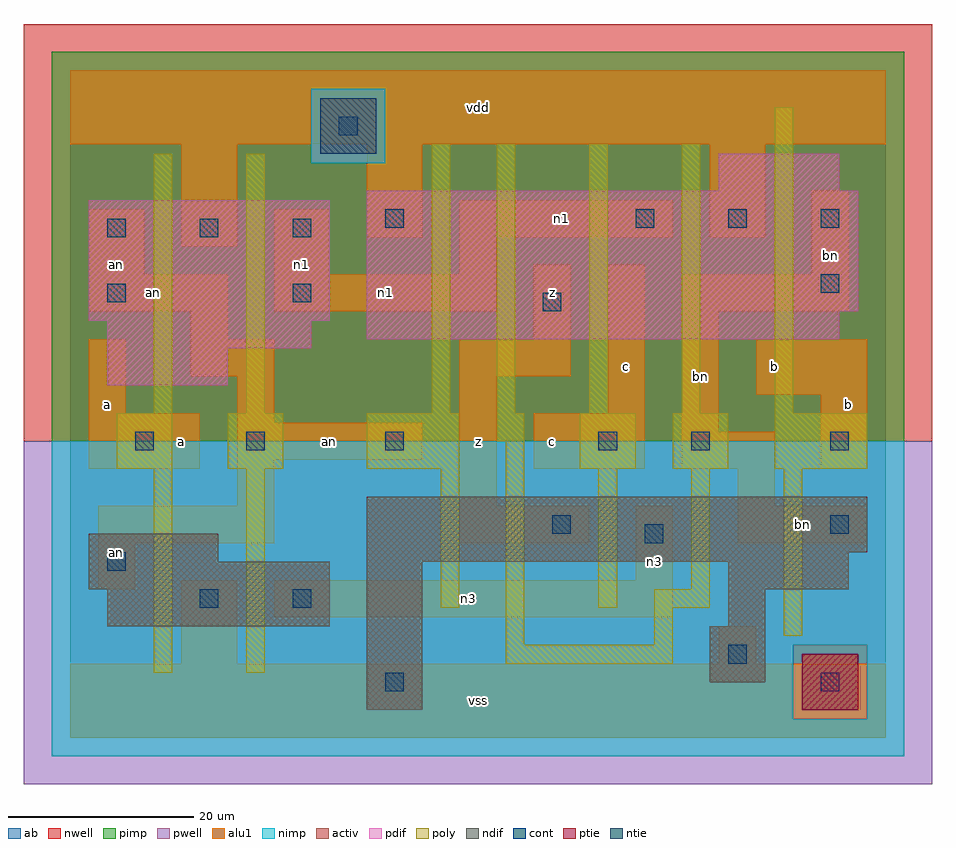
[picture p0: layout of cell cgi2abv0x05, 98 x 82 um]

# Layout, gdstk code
import gdstk
lib = gdstk.Library(unit=1e-6, precision=1e-09)
def R(c, l, rs):  # rectangles x0, y0, x1, y1
    for r in rs: c.add(gdstk.rectangle(r[:2], r[2:], *l))
def A(c, l, x, y, w, h, nx, ny, dx, dy):  # array of equal rectangles
    R(c, l, [(x+i*dx, y+j*dy, x+i*dx+w, y+j*dy+h) for i in range(nx) for j in range(ny)])
ndif = (3, 0)
pdif = (4, 0)
ntie = (5, 0)
ptie = (6, 0)
cont = (25, 0)
pwell = (41, 0)
nwell = (42, 0)
activ = (43, 0)
pimp = (44, 0)
nimp = (45, 0)
poly = (46, 0)
alu1 = (49, 0)
ab = (63, 0)

cgi2abv0x05 = lib.new_cell('cgi2abv0x05')
R(cgi2abv0x05, ndif, [(32,3,38,19), (69,6,75,12), (4,12,28,16), (71,12,75,16), (2,16,28,19), (71,16,84,19), (2,19,16,22), (32,19,84,20), (32,20,86,26)])
R(cgi2abv0x05, pdif, [(4,38,17,42), (4,42,26,45), (32,43,83,46), (2,45,28,58), (32,46,85,59), (70,59,83,63)])
R(cgi2abv0x05, ntie, [(27,63,33,69)])
R(cgi2abv0x05, ptie, [(79,3,85,9)])
A(cgi2abv0x05, cont, 4, 54, 2, 2, 3, 1, 10, 0)
A(cgi2abv0x05, cont, 61, 55, 2, 2, 3, 1, 10, 0)
R(cgi2abv0x05, cont, [(34,5,36,7), (81,5,83,7), (71,8,73,10), (14,14,16,16), (24,14,26,16), (4,18,6,20), (62,21,64,23), (52,22,54,24), (82,22,84,24), (7,31,9,33), (19,31,21,33), (34,31,36,33), (57,31,59,33), (67,31,69,33), (82,31,84,33), (51,46,53,48), (4,47,6,49), (24,47,26,49), (81,48,83,50), (34,55,36,57), (29,65,31,67)])
R(cgi2abv0x05, pwell, [(-5,-5,93,32)])
R(cgi2abv0x05, nwell, [(-5,32,93,77)])
R(cgi2abv0x05, activ, [(32,3,38,19), (79,3,85,9), (69,6,75,12), (4,12,28,16), (71,12,75,16), (2,16,28,19), (71,16,84,19), (2,19,16,22), (32,19,84,20), (32,20,86,26), (4,38,17,42), (4,42,26,45), (32,43,83,46), (2,45,28,58), (32,46,85,59), (70,59,83,63), (27,63,33,69)])
R(cgi2abv0x05, pimp, [(78,2,86,10), (-2,32,90,62), (-2,62,26,70), (34,62,90,70), (-2,70,90,74)])
R(cgi2abv0x05, nimp, [(-2,-2,90,2), (-2,2,78,10), (86,2,90,10), (-2,10,90,32), (26,62,34,70)])
A(cgi2abv0x05, poly, 46, 35, 2, 29, 3, 1, 10, 0)
R(cgi2abv0x05, poly, [(9,7,11,29), (19,7,21,29), (47,8,65,10), (47,10,49,32), (63,10,65,14), (77,11,79,29), (40,14,42,29), (57,14,59,29), (63,14,69,16), (67,16,69,29), (5,29,11,35), (17,29,23,35), (32,29,42,35), (55,29,61,35), (65,29,71,35), (76,29,86,35), (46,32,49,35), (9,35,11,63), (19,35,21,63), (39,35,41,64), (76,35,78,68)])
R(cgi2abv0x05, alu1, [(0,0,88,8), (12,8,18,17), (70,8,74,12), (22,13,65,17), (3,16,7,21), (61,17,65,25), (3,21,22,25), (42,21,56,25), (72,21,86,25), (18,25,22,30), (42,25,46,39), (72,25,76,29), (2,29,14,35), (50,29,62,35), (66,29,76,33), (81,29,86,37), (18,30,38,34), (66,33,70,46), (18,34,22,39), (2,35,6,43), (58,35,62,51), (74,37,86,43), (13,39,22,43), (42,39,54,43), (13,43,17,46), (50,43,54,51), (2,46,17,50), (22,46,46,50), (66,46,84,50), (2,50,8,57), (22,50,28,57), (42,50,46,54), (80,50,84,59), (12,53,18,64), (32,54,38,64), (42,54,65,58), (69,54,75,64), (0,64,88,72)])
R(cgi2abv0x05, ab, [(0,0,88,72)])
cgi2abv0x05.add(gdstk.Label('an', (5,20), layer=49, texttype=0))
cgi2abv0x05.add(gdstk.Label('an', (9,48), layer=49, texttype=0))
cgi2abv0x05.add(gdstk.Label('an', (5,51), layer=49, texttype=0))
cgi2abv0x05.add(gdstk.Label('an', (28,32), layer=49, texttype=0))
cgi2abv0x05.add(gdstk.Label('n1', (25,51), layer=49, texttype=0))
cgi2abv0x05.add(gdstk.Label('n3', (43,15), layer=49, texttype=0))
cgi2abv0x05.add(gdstk.Label('n3', (63,19), layer=49, texttype=0))
cgi2abv0x05.add(gdstk.Label('n1', (34,48), layer=49, texttype=0))
cgi2abv0x05.add(gdstk.Label('n1', (53,56), layer=49, texttype=0))
cgi2abv0x05.add(gdstk.Label('bn', (79,23), layer=49, texttype=0))
cgi2abv0x05.add(gdstk.Label('bn', (68,39), layer=49, texttype=0))
cgi2abv0x05.add(gdstk.Label('bn', (82,52), layer=49, texttype=0))
cgi2abv0x05.add(gdstk.Label('a', (12,32), layer=49, texttype=0))
cgi2abv0x05.add(gdstk.Label('a', (4,36), layer=49, texttype=0))
cgi2abv0x05.add(gdstk.Label('vss', (44,4), layer=49, texttype=0))
cgi2abv0x05.add(gdstk.Label('z', (44,32), layer=49, texttype=0))
cgi2abv0x05.add(gdstk.Label('c', (52,32), layer=49, texttype=0))
cgi2abv0x05.add(gdstk.Label('c', (60,40), layer=49, texttype=0))
cgi2abv0x05.add(gdstk.Label('z', (52,48), layer=49, texttype=0))
cgi2abv0x05.add(gdstk.Label('vdd', (44,68), layer=49, texttype=0))
cgi2abv0x05.add(gdstk.Label('b', (76,40), layer=49, texttype=0))
cgi2abv0x05.add(gdstk.Label('b', (84,36), layer=49, texttype=0))

lib.write_gds('cgi2abv0x05.gds')
